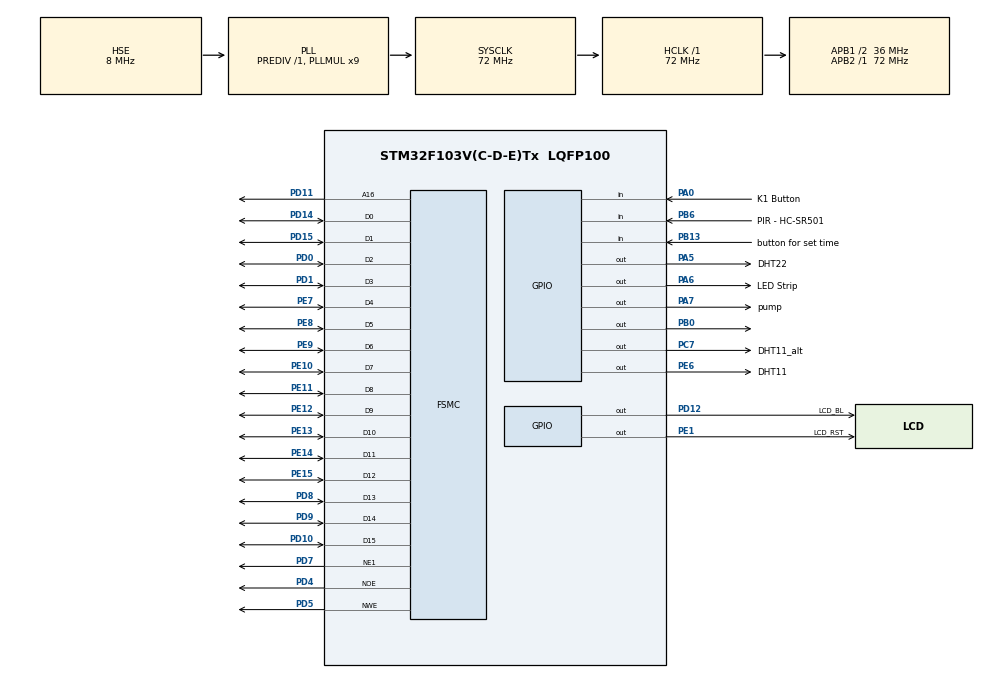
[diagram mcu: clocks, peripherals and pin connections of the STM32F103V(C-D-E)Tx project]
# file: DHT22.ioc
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Mcu.Family=STM32F1
Mcu.Name=STM32F103V(C-D-E)Tx
Mcu.Package=LQFP100
NVIC.PriorityGroup=NVIC_PRIORITYGROUP_4
OSC_IN.Mode=HSE-External-Oscillator
OSC_IN.Signal=RCC_OSC_IN
OSC_OUT.Mode=HSE-External-Oscillator
OSC_OUT.Signal=RCC_OSC_OUT
PA0-WKUP.GPIO_Label=K1 Button
PA0-WKUP.Signal=GPIO_Input
PA13.Mode=Serial_Wire
PA13.Signal=SYS_JTMS-SWDIO
PA14.Mode=Serial_Wire
PA14.Signal=SYS_JTCK-SWCLK
PA5.GPIO_Label=DHT22
PA5.PinState=GPIO_PIN_SET
PA5.Signal=GPIO_Output
PA6.GPIO_Label=LED Strip
PA6.GPIO_Speed=GPIO_SPEED_FREQ_HIGH
PA6.PinState=GPIO_PIN_RESET
PA6.Signal=GPIO_Output
PA7.GPIO_Label=pump
PA7.GPIO_Speed=GPIO_SPEED_FREQ_HIGH
PA7.Signal=GPIO_Output
PB0.GPIO_Speed=GPIO_SPEED_FREQ_HIGH
PB0.PinState=GPIO_PIN_SET
PB0.Signal=GPIO_Output
PB13.GPIO_Label=button for set time
PB13.GPIO_PuPd=GPIO_PULLDOWN
PB13.Signal=GPIO_Input
PB6.GPIO_Label=PIR - HC-SR501
PB6.GPIO_PuPd=GPIO_PULLDOWN
PB6.Signal=GPIO_Input
PC14-OSC32_IN.Mode=LSE-External-Oscillator
PC14-OSC32_IN.Signal=RCC_OSC32_IN
PC15-OSC32_OUT.Mode=LSE-External-Oscillator
PC15-OSC32_OUT.Signal=RCC_OSC32_OUT
PC7.GPIO_Label=DHT11_alt
PC7.GPIO_Speed=GPIO_SPEED_FREQ_HIGH
PC7.PinState=GPIO_PIN_RESET
PC7.Signal=GPIO_Output
PD0.Mode=16b-d1
PD0.Signal=FSMC_D2
PD1.Mode=16b-d1
PD1.Signal=FSMC_D3
PD10.Mode=16b-d1
PD10.Signal=FSMC_D15
PD11.Mode=A16_1
PD11.Signal=FSMC_A16
PD12.GPIO_Label=LCD_BL
PD12.GPIO_Speed=GPIO_SPEED_FREQ_HIGH
PD12.Signal=GPIO_Output
PD14.Mode=16b-d1
PD14.Signal=FSMC_D0
PD15.Mode=16b-d1
PD15.Signal=FSMC_D1
PD4.Mode=Lcd1
PD4.Signal=FSMC_NOE
PD5.Mode=Lcd1
PD5.Signal=FSMC_NWE
PD7.Mode=NorPsramChipSelect1_1
PD7.Signal=FSMC_NE1
PD8.Mode=16b-d1
PD8.Signal=FSMC_D13
PD9.Mode=16b-d1
PD9.Signal=FSMC_D14
PE1.GPIO_Label=LCD_RST
PE1.GPIO_Speed=GPIO_SPEED_FREQ_HIGH
PE1.Signal=GPIO_Output
PE10.Mode=16b-d1
PE10.Signal=FSMC_D7
PE11.Mode=16b-d1
PE11.Signal=FSMC_D8
PE12.Mode=16b-d1
PE12.Signal=FSMC_D9
PE13.Mode=16b-d1
PE13.Signal=FSMC_D10
PE14.Mode=16b-d1
PE14.Signal=FSMC_D11
PE15.Mode=16b-d1
PE15.Signal=FSMC_D12
PE6.GPIO_Label=DHT11
PE6.GPIO_Speed=GPIO_SPEED_FREQ_HIGH
PE6.Signal=GPIO_Output
PE7.Mode=16b-d1
PE7.Signal=FSMC_D4
PE8.Mode=16b-d1
PE8.Signal=FSMC_D5
PE9.Mode=16b-d1
PE9.Signal=FSMC_D6
ProjectManager.HeapSize=0x200
ProjectManager.StackSize=0x400
ProjectManager.TargetToolchain=STM32CubeIDE
RCC.AHBFreq_Value=72000000
RCC.APB1CLKDivider=RCC_HCLK_DIV2
RCC.APB1Freq_Value=36000000
RCC.APB1TimFreq_Value=72000000
RCC.APB2Freq_Value=72000000
RCC.APB2TimFreq_Value=72000000
RCC.HCLKFreq_Value=72000000
RCC.PLLMUL=RCC_PLL_MUL9
RCC.PLLSourceVirtual=RCC_PLLSOURCE_HSE
RCC.SYSCLKFreq_VALUE=72000000
RCC.SYSCLKSource=RCC_SYSCLKSOURCE_PLLCLK
RCC.USBFreq_Value=72000000
RTC.Date=19
RTC.Hours=22
RTC.Month=RTC_MONTH_APRIL
RTC.WeekDay=RTC_WEEKDAY_WEDNESDAY
RTC.Year=23
TIM1.Prescaler=71
VP_RTC_VS_RTC_Activate.Mode=RTC_Enabled
VP_RTC_VS_RTC_Calendar.Mode=RTC_Calendar
VP_TIM1_VS_ClockSourceINT.Mode=Internal
board=custom

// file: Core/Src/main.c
/* USER CODE BEGIN Header */
/**
  ******************************************************************************
  * @file           : main.c
  * @brief          : Main program body
  ******************************************************************************
  * @attention
  *
  * Copyright (c) 2023 STMicroelectronics.
  * All rights reserved.
  *
  * This software is licensed under terms that can be found in the LICENSE file
  * in the root directory of this software component.
  * If no LICENSE file comes with this software, it is provided AS-IS.
  *
  ******************************************************************************
  */
/* USER CODE END Header */
#include "main.h"

/* USER CODE BEGIN Includes */
#include "stdio.h"
#include "lcd.h"
#include "string.h"
/* USER CODE END Includes */

 RTC_HandleTypeDef hrtc;

TIM_HandleTypeDef htim1;

SRAM_HandleTypeDef hsram1;

void SystemClock_Config(void);
static void MX_GPIO_Init(void);
static void MX_FSMC_Init(void);
static void MX_TIM1_Init(void);
static void MX_RTC_Init(void);
/* USER CODE BEGIN PFP */
char time[30];
char date[30];

RTC_TimeTypeDef sTime = {0};
RTC_DateTypeDef sDate = {0};
/* USER CODE END PFP */

/* USER CODE BEGIN 0 */
void delay_us(int length){
	__HAL_TIM_SET_COUNTER(&htim1,0);	// set counter to 0
	while ((__HAL_TIM_GET_COUNTER(&htim1)) < length);	// breaks loop when length is reached
}

void Set_Pin_Output (GPIO_TypeDef *GPIOx, uint16_t pin_number)
{
	GPIO_InitTypeDef GPIO_InitStruct = {0};
	GPIO_InitStruct.Pin = pin_number;
	GPIO_InitStruct.Mode = GPIO_MODE_OUTPUT_PP;
	GPIO_InitStruct.Speed = GPIO_SPEED_FREQ_LOW;
	HAL_GPIO_Init(GPIOx, &GPIO_InitStruct);
}

void Set_Pin_Input (GPIO_TypeDef *GPIOx, uint16_t pin_number)
{
	GPIO_InitTypeDef GPIO_InitStruct = {0};
	GPIO_InitStruct.Pin = pin_number;
	GPIO_InitStruct.Mode = GPIO_MODE_INPUT;
	GPIO_InitStruct.Pull = GPIO_PULLUP;
	HAL_GPIO_Init(GPIOx, &GPIO_InitStruct);
}

void DHT22_Init(){
	HAL_GPIO_WritePin(GPIOB, GPIO_PIN_13, GPIO_PIN_SET);
	//LCD_DrawString(10, 60, "start output stuff");
	Set_Pin_Output(GPIOA, GPIO_PIN_5);							// set pin to output(will set to input later)
	//LCD_DrawString(10, 80, "pin set as output");
	HAL_GPIO_WritePin(GPIOA, GPIO_PIN_5, GPIO_PIN_RESET);
	delay_us(1200);
	HAL_GPIO_WritePin(GPIOA, GPIO_PIN_5, GPIO_PIN_SET);
//	LCD_DrawString(10, 100, "delay 20us");
//	delay_us(20);
	//LCD_DrawString(10, 120, "delay 30us success");
	//HAL_GPIO_WritePin(GPIOA, GPIO_PIN_5, GPIO_PIN_RESET);
	Set_Pin_Input(GPIOA, GPIO_PIN_5);
	LCD_DrawString(10, 140, "finished output stuff");
	while(HAL_GPIO_ReadPin(GPIOA, GPIO_PIN_5) == GPIO_PIN_SET);
}

void DHT11_Init(){
	Set_Pin_Output(GPIOE, GPIO_PIN_6);// set pin to output(will set to input later)
	HAL_GPIO_WritePin(GPIOE, GPIO_PIN_6, GPIO_PIN_SET);
	delay_us(1000);
	HAL_GPIO_WritePin(GPIOE, GPIO_PIN_6, GPIO_PIN_RESET);
	delay_us(20000);
	HAL_GPIO_WritePin(GPIOE, GPIO_PIN_6, GPIO_PIN_SET);
	delay_us(20);
	Set_Pin_Input(GPIOE, GPIO_PIN_6);
}

uint8_t Check_Response_DHT11(){
	//LCD_DrawString(40, 180, "check");
	uint8_t response=0;
	delay_us(40);
	if(HAL_GPIO_ReadPin(GPIOE, GPIO_PIN_6) == GPIO_PIN_RESET){
		delay_us(80);
		if(HAL_GPIO_ReadPin(GPIOE, GPIO_PIN_6) == GPIO_PIN_SET){
			response=-1;
		}
		else{
			response=0;
		}
	}
	while(HAL_GPIO_ReadPin(GPIOE, GPIO_PIN_6) == GPIO_PIN_SET);
	LCD_DrawString(40, 200, "*****");
	return response;
}

uint8_t DHT11_Read(){
	uint8_t result=0;
	for(int i=0; i<8; ++i){
		while(HAL_GPIO_ReadPin(GPIOE, GPIO_PIN_6) == GPIO_PIN_RESET);
		LCD_DrawString(100, 200, "bits!");
		delay_us(40);
		if(HAL_GPIO_ReadPin(GPIOE, GPIO_PIN_6) == GPIO_PIN_SET){
			result |= (1 << (7-i));
		}
		while(HAL_GPIO_ReadPin(GPIOE, GPIO_PIN_6) == GPIO_PIN_SET);
		LCD_DrawString(150, 200, "fin!");
	}
	return result;
}

/* USER CODE END 0 */

int main(void)
{

  /* MCU Configuration--------------------------------------------------------*/

  /* Reset of all peripherals, Initializes the Flash interface and the Systick. */
  HAL_Init();

  /* Configure the system clock */
  SystemClock_Config();

  /* Initialize all configured peripherals */
  MX_GPIO_Init();
  MX_FSMC_Init();
  MX_TIM1_Init();
  MX_RTC_Init();
  /* USER CODE BEGIN 2 */
  LCD_INIT();
  HAL_TIM_Base_Start(&htim1);
  HAL_Delay(1000);
  // with HAL_Delay
  HAL_GPIO_WritePin(GPIOC, GPIO_PIN_7, GPIO_PIN_RESET);
  HAL_GPIO_WritePin(GPIOC, GPIO_PIN_7, GPIO_PIN_SET);
  delay_us(10000);
  HAL_GPIO_WritePin(GPIOC, GPIO_PIN_7, GPIO_PIN_RESET);

  /* USER CODE END 2 */

  /* Infinite loop */
  while (1)
  {

    /* USER CODE BEGIN 3 */
	//PIR sensor and LCD on/off
	if(HAL_GPIO_ReadPin(GPIOB, GPIO_PIN_6) == GPIO_PIN_SET){
		HAL_GPIO_WritePin(GPIOB, GPIO_PIN_0, GPIO_PIN_RESET);
		HAL_GPIO_WritePin(LCD_BK_PORT,LCD_BK_PIN,GPIO_PIN_RESET);
	}
	else{
		HAL_GPIO_WritePin(GPIOB, GPIO_PIN_0, GPIO_PIN_SET);
		HAL_GPIO_WritePin(LCD_BK_PORT,LCD_BK_PIN,GPIO_PIN_SET);
	}

	//RTC
	HAL_RTC_GetDate(&hrtc, &sDate, RTC_FORMAT_BIN);
	HAL_RTC_GetTime(&hrtc, &sTime, RTC_FORMAT_BIN);

	sprintf(date, "Date: %02d.%02d.%02d", sDate.Date, sDate.Month, sDate.Year);
	sprintf(time, "Time: %02d.%02d.%02d", sTime.Hours, sTime.Minutes, sTime.Seconds);

	LCD_DrawString(20, 20, date);
	LCD_DrawString(20, 40, time);

	if(HAL_GPIO_ReadPin(GPIOB, GPIO_PIN_13) == GPIO_PIN_SET){
		uint8_t sec=0x20, min=0x59, hr=0x05, date=0x12, year=0x23;
		// update RTC
		RTC_TimeTypeDef sTime2 = {0};
		RTC_DateTypeDef sDate2 = {0};

		/* Fill in the RTC_TimeTypeDef structure with the new values */
		sTime2.Hours = hr;
		sTime2.Minutes = min;
		sTime2.Seconds = sec;

		sDate2.WeekDay = RTC_WEEKDAY_WEDNESDAY;
		sDate2.Month = RTC_MONTH_APRIL;
		sDate2.Date = date;
		sDate2.Year = year;

		/* Set the new time in the RTC */
		HAL_RTC_SetTime(&hrtc, &sTime2, RTC_FORMAT_BCD);
		HAL_RTC_SetDate(&hrtc, &sDate2, RTC_FORMAT_BCD);
		HAL_Delay(500);
	}

	if(sTime.Hours == 6 && sTime.Minutes == 0 && sTime.Seconds==0){
		HAL_GPIO_WritePin(GPIOA, GPIO_PIN_7, GPIO_PIN_SET);
		HAL_Delay(5000);
		HAL_GPIO_WritePin(GPIOA, GPIO_PIN_7, GPIO_PIN_RESET);
	}

	//pump and light
	if(HAL_GPIO_ReadPin(GPIOA, GPIO_PIN_0) == GPIO_PIN_SET){
		HAL_GPIO_TogglePin(GPIOA, GPIO_PIN_4);
		HAL_GPIO_TogglePin(GPIOA, GPIO_PIN_7);
		HAL_Delay(2000);
//		uint8_t rh1, rh2, temp1, temp2, check;
//		uint16_t rh, temp;
//		float temperature=0.0, humidity = 0.0;
//		DHT11_Init();
//		uint8_t B = Check_Response_DHT11();
//		//start receiving data
//		if(B==0){
//			rh1 = DHT11_Read();
//			rh2 = DHT11_Read();
//			temp1 = DHT11_Read();
//			temp2 = DHT11_Read();
//			check = DHT11_Read();
//			if(rh1 + rh2 + temp1 + temp2 == check){
//				LCD_DrawString(10, 220, "Checksum validated");
//			}
//			else{
//				LCD_DrawString(10, 220, "Signal corrupted");
//			}
//			rh = ((rh1 << 8) | rh2 );
//			temp = ((temp1 << 8) | temp2);
//		}
//		humidity = (float) (rh/10.0);
//		temperature = (float) (temp/10.0);
//		char TEMP[11], HUMID[11];
//		sprintf(HUMID, "%f", humidity);
//		sprintf(TEMP, "%f", temperature);
//		LCD_DrawString(10, 240, TEMP);
//		LCD_DrawString(20, 260, HUMID);

	}

  }
  /* USER CODE END 3 */
}

void SystemClock_Config(void)
{
  RCC_OscInitTypeDef RCC_OscInitStruct = {0};
  RCC_ClkInitTypeDef RCC_ClkInitStruct = {0};
  RCC_PeriphCLKInitTypeDef PeriphClkInit = {0};

  /** Initializes the RCC Oscillators according to the specified parameters
  * in the RCC_OscInitTypeDef structure.
  */
  RCC_OscInitStruct.OscillatorType = RCC_OSCILLATORTYPE_LSI|RCC_OSCILLATORTYPE_HSE;
  RCC_OscInitStruct.HSEState = RCC_HSE_ON;
  RCC_OscInitStruct.HSEPredivValue = RCC_HSE_PREDIV_DIV1;
  RCC_OscInitStruct.HSIState = RCC_HSI_ON;
  RCC_OscInitStruct.LSIState = RCC_LSI_ON;
  RCC_OscInitStruct.PLL.PLLState = RCC_PLL_ON;
  RCC_OscInitStruct.PLL.PLLSource = RCC_PLLSOURCE_HSE;
  RCC_OscInitStruct.PLL.PLLMUL = RCC_PLL_MUL9;
  if (HAL_RCC_OscConfig(&RCC_OscInitStruct) != HAL_OK)
  {
    Error_Handler();
  }

  /** Initializes the CPU, AHB and APB buses clocks
  */
  RCC_ClkInitStruct.ClockType = RCC_CLOCKTYPE_HCLK|RCC_CLOCKTYPE_SYSCLK
                              |RCC_CLOCKTYPE_PCLK1|RCC_CLOCKTYPE_PCLK2;
  RCC_ClkInitStruct.SYSCLKSource = RCC_SYSCLKSOURCE_PLLCLK;
  RCC_ClkInitStruct.AHBCLKDivider = RCC_SYSCLK_DIV1;
  RCC_ClkInitStruct.APB1CLKDivider = RCC_HCLK_DIV2;
  RCC_ClkInitStruct.APB2CLKDivider = RCC_HCLK_DIV1;

  if (HAL_RCC_ClockConfig(&RCC_ClkInitStruct, FLASH_LATENCY_2) != HAL_OK)
  {
    Error_Handler();
  }
  PeriphClkInit.PeriphClockSelection = RCC_PERIPHCLK_RTC;
  PeriphClkInit.RTCClockSelection = RCC_RTCCLKSOURCE_LSI;
  if (HAL_RCCEx_PeriphCLKConfig(&PeriphClkInit) != HAL_OK)
  {
    Error_Handler();
  }
}

static void MX_RTC_Init(void)
{

  RTC_TimeTypeDef sTime = {0};
  RTC_DateTypeDef DateToUpdate = {0};

  /** Initialize RTC Only
  */
  hrtc.Instance = RTC;
  hrtc.Init.AsynchPrediv = RTC_AUTO_1_SECOND;
  hrtc.Init.OutPut = RTC_OUTPUTSOURCE_ALARM;
  if (HAL_RTC_Init(&hrtc) != HAL_OK)
  {
    Error_Handler();
  }

  /** Initialize RTC and set the Time and Date
  */
  sTime.Hours = 0x22;
  sTime.Minutes = 0x0;
  sTime.Seconds = 0x0;

  if (HAL_RTC_SetTime(&hrtc, &sTime, RTC_FORMAT_BCD) != HAL_OK)
  {
    Error_Handler();
  }
  DateToUpdate.WeekDay = RTC_WEEKDAY_WEDNESDAY;
  DateToUpdate.Month = RTC_MONTH_APRIL;
  DateToUpdate.Date = 0x19;
  DateToUpdate.Year = 0x23;

  if (HAL_RTC_SetDate(&hrtc, &DateToUpdate, RTC_FORMAT_BCD) != HAL_OK)
  {
    Error_Handler();
  }

}

static void MX_TIM1_Init(void)
{

  TIM_ClockConfigTypeDef sClockSourceConfig = {0};
  TIM_MasterConfigTypeDef sMasterConfig = {0};

  htim1.Instance = TIM1;
  htim1.Init.Prescaler = 71;
  htim1.Init.CounterMode = TIM_COUNTERMODE_UP;
  htim1.Init.Period = 65535;
  htim1.Init.ClockDivision = TIM_CLOCKDIVISION_DIV1;
  htim1.Init.RepetitionCounter = 0;
  htim1.Init.AutoReloadPreload = TIM_AUTORELOAD_PRELOAD_DISABLE;
  if (HAL_TIM_Base_Init(&htim1) != HAL_OK)
  {
    Error_Handler();
  }
  sClockSourceConfig.ClockSource = TIM_CLOCKSOURCE_INTERNAL;
  if (HAL_TIM_ConfigClockSource(&htim1, &sClockSourceConfig) != HAL_OK)
  {
    Error_Handler();
  }
  sMasterConfig.MasterOutputTrigger = TIM_TRGO_RESET;
  sMasterConfig.MasterSlaveMode = TIM_MASTERSLAVEMODE_DISABLE;
  if (HAL_TIMEx_MasterConfigSynchronization(&htim1, &sMasterConfig) != HAL_OK)
  {
    Error_Handler();
  }

}

static void MX_GPIO_Init(void)
{
  GPIO_InitTypeDef GPIO_InitStruct = {0};

  /* GPIO Ports Clock Enable */
  __HAL_RCC_GPIOE_CLK_ENABLE();
  __HAL_RCC_GPIOC_CLK_ENABLE();
  __HAL_RCC_GPIOA_CLK_ENABLE();
  __HAL_RCC_GPIOB_CLK_ENABLE();
  __HAL_RCC_GPIOD_CLK_ENABLE();

  /*Configure GPIO pin Output Level */
  HAL_GPIO_WritePin(GPIOE, DHT11_Pin|LCD_RST_Pin, GPIO_PIN_RESET);

  /*Configure GPIO pin Output Level */
  HAL_GPIO_WritePin(DHT22_GPIO_Port, DHT22_Pin, GPIO_PIN_SET);

  /*Configure GPIO pin Output Level */
  HAL_GPIO_WritePin(GPIOA, LED_Strip_Pin|pump_Pin, GPIO_PIN_RESET);

  /*Configure GPIO pin Output Level */
  HAL_GPIO_WritePin(GPIOB, GPIO_PIN_0, GPIO_PIN_SET);

  /*Configure GPIO pin Output Level */
  HAL_GPIO_WritePin(LCD_BL_GPIO_Port, LCD_BL_Pin, GPIO_PIN_RESET);

  /*Configure GPIO pin Output Level */
  HAL_GPIO_WritePin(DHT11_alt_GPIO_Port, DHT11_alt_Pin, GPIO_PIN_RESET);

  /*Configure GPIO pins : DHT11_Pin LCD_RST_Pin */
  GPIO_InitStruct.Pin = DHT11_Pin|LCD_RST_Pin;
  GPIO_InitStruct.Mode = GPIO_MODE_OUTPUT_PP;
  GPIO_InitStruct.Pull = GPIO_NOPULL;
  GPIO_InitStruct.Speed = GPIO_SPEED_FREQ_HIGH;
  HAL_GPIO_Init(GPIOE, &GPIO_InitStruct);

  /*Configure GPIO pin : K1_Button_Pin */
  GPIO_InitStruct.Pin = K1_Button_Pin;
  GPIO_InitStruct.Mode = GPIO_MODE_INPUT;
  GPIO_InitStruct.Pull = GPIO_NOPULL;
  HAL_GPIO_Init(K1_Button_GPIO_Port, &GPIO_InitStruct);

  /*Configure GPIO pin : DHT22_Pin */
  GPIO_InitStruct.Pin = DHT22_Pin;
  GPIO_InitStruct.Mode = GPIO_MODE_OUTPUT_PP;
  GPIO_InitStruct.Pull = GPIO_NOPULL;
  GPIO_InitStruct.Speed = GPIO_SPEED_FREQ_LOW;
  HAL_GPIO_Init(DHT22_GPIO_Port, &GPIO_InitStruct);

  /*Configure GPIO pins : LED_Strip_Pin pump_Pin */
  GPIO_InitStruct.Pin = LED_Strip_Pin|pump_Pin;
  GPIO_InitStruct.Mode = GPIO_MODE_OUTPUT_PP;
  GPIO_InitStruct.Pull = GPIO_NOPULL;
  GPIO_InitStruct.Speed = GPIO_SPEED_FREQ_HIGH;
  HAL_GPIO_Init(GPIOA, &GPIO_InitStruct);

  /*Configure GPIO pin : PB0 */
  GPIO_InitStruct.Pin = GPIO_PIN_0;
  GPIO_InitStruct.Mode = GPIO_MODE_OUTPUT_PP;
  GPIO_InitStruct.Pull = GPIO_NOPULL;
  GPIO_InitStruct.Speed = GPIO_SPEED_FREQ_HIGH;
  HAL_GPIO_Init(GPIOB, &GPIO_InitStruct);

  /*Configure GPIO pins : button_for_set_time_Pin PIR___HC_SR501_Pin */
  GPIO_InitStruct.Pin = button_for_set_time_Pin|PIR___HC_SR501_Pin;
  GPIO_InitStruct.Mode = GPIO_MODE_INPUT;
  GPIO_InitStruct.Pull = GPIO_PULLDOWN;
  HAL_GPIO_Init(GPIOB, &GPIO_InitStruct);

  /*Configure GPIO pin : LCD_BL_Pin */
  GPIO_InitStruct.Pin = LCD_BL_Pin;
  GPIO_InitStruct.Mode = GPIO_MODE_OUTPUT_PP;
  GPIO_InitStruct.Pull = GPIO_NOPULL;
  GPIO_InitStruct.Speed = GPIO_SPEED_FREQ_HIGH;
  HAL_GPIO_Init(LCD_BL_GPIO_Port, &GPIO_InitStruct);

  /*Configure GPIO pin : DHT11_alt_Pin */
  GPIO_InitStruct.Pin = DHT11_alt_Pin;
  GPIO_InitStruct.Mode = GPIO_MODE_OUTPUT_PP;
  GPIO_InitStruct.Pull = GPIO_NOPULL;
  GPIO_InitStruct.Speed = GPIO_SPEED_FREQ_HIGH;
  HAL_GPIO_Init(DHT11_alt_GPIO_Port, &GPIO_InitStruct);

}

/* FSMC initialization function */
static void MX_FSMC_Init(void)
{

  FSMC_NORSRAM_TimingTypeDef Timing = {0};

  /** Perform the SRAM1 memory initialization sequence
  */
  hsram1.Instance = FSMC_NORSRAM_DEVICE;
  hsram1.Extended = FSMC_NORSRAM_EXTENDED_DEVICE;
  /* hsram1.Init */
  hsram1.Init.NSBank = FSMC_NORSRAM_BANK1;
  hsram1.Init.DataAddressMux = FSMC_DATA_ADDRESS_MUX_DISABLE;
  hsram1.Init.MemoryType = FSMC_MEMORY_TYPE_SRAM;
  hsram1.Init.MemoryDataWidth = FSMC_NORSRAM_MEM_BUS_WIDTH_16;
  hsram1.Init.BurstAccessMode = FSMC_BURST_ACCESS_MODE_DISABLE;
  hsram1.Init.WaitSignalPolarity = FSMC_WAIT_SIGNAL_POLARITY_LOW;
  hsram1.Init.WrapMode = FSMC_WRAP_MODE_DISABLE;
  hsram1.Init.WaitSignalActive = FSMC_WAIT_TIMING_BEFORE_WS;
  hsram1.Init.WriteOperation = FSMC_WRITE_OPERATION_ENABLE;
  hsram1.Init.WaitSignal = FSMC_WAIT_SIGNAL_DISABLE;
  hsram1.Init.ExtendedMode = FSMC_EXTENDED_MODE_DISABLE;
  hsram1.Init.AsynchronousWait = FSMC_ASYNCHRONOUS_WAIT_DISABLE;
  hsram1.Init.WriteBurst = FSMC_WRITE_BURST_DISABLE;
  /* Timing */
  Timing.AddressSetupTime = 15;
  Timing.AddressHoldTime = 15;
  Timing.DataSetupTime = 255;
  Timing.BusTurnAroundDuration = 15;
  Timing.CLKDivision = 16;
  Timing.DataLatency = 17;
  Timing.AccessMode = FSMC_ACCESS_MODE_A;
  /* ExtTiming */

  if (HAL_SRAM_Init(&hsram1, &Timing, NULL) != HAL_OK)
  {
    Error_Handler( );
  }

  /** Disconnect NADV
  */

  __HAL_AFIO_FSMCNADV_DISCONNECTED();

}

void Error_Handler(void)
{
  __disable_irq();
  while (1)
  {
  }
}
